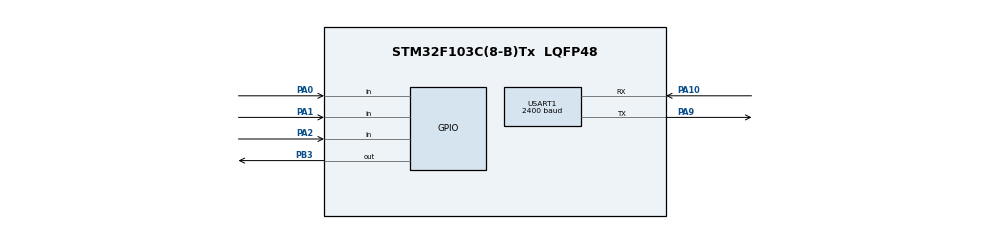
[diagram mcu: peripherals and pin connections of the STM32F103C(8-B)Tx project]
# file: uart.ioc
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Mcu.Family=STM32F1
Mcu.Name=STM32F103C(8-B)Tx
Mcu.Package=LQFP48
NVIC.PriorityGroup=NVIC_PRIORITYGROUP_4
PA0-WKUP.GPIO_PuPd=GPIO_PULLUP
PA0-WKUP.Signal=GPIO_Input
PA1.GPIO_PuPd=GPIO_PULLUP
PA1.Signal=GPIO_Input
PA10.Mode=Asynchronous
PA10.Signal=USART1_RX
PA2.GPIO_PuPd=GPIO_PULLUP
PA2.Signal=GPIO_Input
PA9.Mode=Asynchronous
PA9.Signal=USART1_TX
PB3.Signal=GPIO_Output
ProjectManager.HeapSize=0x200
ProjectManager.StackSize=0x400
ProjectManager.TargetToolchain=MDK-ARM V5
RCC.APB1Freq_Value=8000000
RCC.APB2Freq_Value=8000000
USART1.BaudRate=2400
USART1.VirtualMode=VM_ASYNC
VP_SYS_VS_ND.Mode=No_Debug
board=custom

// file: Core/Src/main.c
/* USER CODE BEGIN Header */
/**
  ******************************************************************************
  * @file           : main.c
  * @brief          : Main program body
  ******************************************************************************
  * @attention
  *
  * Copyright (c) 2022 STMicroelectronics.
  * All rights reserved.
  *
  * This software is licensed under terms that can be found in the LICENSE file
  * in the root directory of this software component.
  * If no LICENSE file comes with this software, it is provided AS-IS.
  *
  ******************************************************************************
  */
/* USER CODE END Header */
#include "main.h"
#include "stdio.h"

UART_HandleTypeDef huart1;

/* USER CODE BEGIN PV */
uint8_t M1[30] = "Vu Duc Trong";
uint8_t M2[30] = "2019600061";
uint8_t Md[30];
char xuongDong;
char xoaMH;
int count = 2022;
/* USER CODE END PV */

void SystemClock_Config(void);
static void MX_GPIO_Init(void);
static void MX_USART1_UART_Init(void);

int main(void)
{

  /* MCU Configuration--------------------------------------------------------*/

  /* Reset of all peripherals, Initializes the Flash interface and the Systick. */
  HAL_Init();

  /* Configure the system clock */
  SystemClock_Config();

  /* Initialize all configured peripherals */
  MX_GPIO_Init();
  MX_USART1_UART_Init();
  /* USER CODE BEGIN 2 */
	xuongDong = 0x0d;
	xoaMH = 0x0c;

	HAL_UART_Transmit(&huart1, &M1[0], 35, 60);
	HAL_UART_Transmit(&huart1, &xuongDong, 1, 60);
	HAL_UART_Transmit(&huart1, &M2[0], 10, 45);
	HAL_GPIO_WritePin(GPIOB, GPIO_PIN_3, GPIO_PIN_SET);
	HAL_Delay(1000);

	HAL_UART_Transmit(&huart1, &xoaMH, 1, 100);
	HAL_GPIO_WritePin(GPIOB, GPIO_PIN_3, GPIO_PIN_RESET);

	sprintf(&Md[0], "Gia tri bien dem: %d", count);
	HAL_UART_Transmit(&huart1, &Md[0], 10, 100);

  /* USER CODE END 2 */

  /* Infinite loop */
  while (1)
  {
		if(HAL_GPIO_ReadPin(GPIOA, GPIO_PIN_0) == 0) {
			while(HAL_GPIO_ReadPin(GPIOA, GPIO_PIN_0) == 0);
			count += 2;
			if(count > 2550) count = 0;
		}

		if(HAL_GPIO_ReadPin(GPIOA, GPIO_PIN_1) == 0) {
			while(HAL_GPIO_ReadPin(GPIOA, GPIO_PIN_1) == 0);
			count -= 1;
		}

		if(HAL_GPIO_ReadPin(GPIOA, GPIO_PIN_2) == 0) {
			while(HAL_GPIO_ReadPin(GPIOA, GPIO_PIN_0) == 0);
			count = 0;
		}

		sprintf(&Md[0], "Gia tri bien dem: %4d", count);
		HAL_UART_Transmit(&huart1, &Md[0], 50, 95);
		HAL_Delay(100);
		HAL_UART_Transmit(&huart1, &xoaMH, 1, 20);
  }
}

void SystemClock_Config(void)
{
  RCC_OscInitTypeDef RCC_OscInitStruct = {0};
  RCC_ClkInitTypeDef RCC_ClkInitStruct = {0};

  /** Initializes the RCC Oscillators according to the specified parameters
  * in the RCC_OscInitTypeDef structure.
  */
  RCC_OscInitStruct.OscillatorType = RCC_OSCILLATORTYPE_HSI;
  RCC_OscInitStruct.HSIState = RCC_HSI_ON;
  RCC_OscInitStruct.HSICalibrationValue = RCC_HSICALIBRATION_DEFAULT;
  RCC_OscInitStruct.PLL.PLLState = RCC_PLL_NONE;
  if (HAL_RCC_OscConfig(&RCC_OscInitStruct) != HAL_OK)
  {
    Error_Handler();
  }

  /** Initializes the CPU, AHB and APB buses clocks
  */
  RCC_ClkInitStruct.ClockType = RCC_CLOCKTYPE_HCLK|RCC_CLOCKTYPE_SYSCLK
                              |RCC_CLOCKTYPE_PCLK1|RCC_CLOCKTYPE_PCLK2;
  RCC_ClkInitStruct.SYSCLKSource = RCC_SYSCLKSOURCE_HSI;
  RCC_ClkInitStruct.AHBCLKDivider = RCC_SYSCLK_DIV1;
  RCC_ClkInitStruct.APB1CLKDivider = RCC_HCLK_DIV1;
  RCC_ClkInitStruct.APB2CLKDivider = RCC_HCLK_DIV1;

  if (HAL_RCC_ClockConfig(&RCC_ClkInitStruct, FLASH_LATENCY_0) != HAL_OK)
  {
    Error_Handler();
  }
}

static void MX_USART1_UART_Init(void)
{

  huart1.Instance = USART1;
  huart1.Init.BaudRate = 9600;
  huart1.Init.WordLength = UART_WORDLENGTH_8B;
  huart1.Init.StopBits = UART_STOPBITS_1;
  huart1.Init.Parity = UART_PARITY_NONE;
  huart1.Init.Mode = UART_MODE_TX_RX;
  huart1.Init.HwFlowCtl = UART_HWCONTROL_NONE;
  huart1.Init.OverSampling = UART_OVERSAMPLING_16;
  if (HAL_UART_Init(&huart1) != HAL_OK)
  {
    Error_Handler();
  }

}

static void MX_GPIO_Init(void)
{
  GPIO_InitTypeDef GPIO_InitStruct = {0};

  /* GPIO Ports Clock Enable */
  __HAL_RCC_GPIOA_CLK_ENABLE();
  __HAL_RCC_GPIOB_CLK_ENABLE();

  /*Configure GPIO pin Output Level */
  HAL_GPIO_WritePin(GPIOB, GPIO_PIN_3, GPIO_PIN_RESET);

  /*Configure GPIO pins : PA0 PA1 PA2 */
  GPIO_InitStruct.Pin = GPIO_PIN_0|GPIO_PIN_1|GPIO_PIN_2;
  GPIO_InitStruct.Mode = GPIO_MODE_INPUT;
  GPIO_InitStruct.Pull = GPIO_PULLUP;
  HAL_GPIO_Init(GPIOA, &GPIO_InitStruct);

  /*Configure GPIO pin : PB3 */
  GPIO_InitStruct.Pin = GPIO_PIN_3;
  GPIO_InitStruct.Mode = GPIO_MODE_OUTPUT_PP;
  GPIO_InitStruct.Pull = GPIO_NOPULL;
  GPIO_InitStruct.Speed = GPIO_SPEED_FREQ_LOW;
  HAL_GPIO_Init(GPIOB, &GPIO_InitStruct);

}

void Error_Handler(void)
{
  __disable_irq();
  while (1)
  {
  }
}
